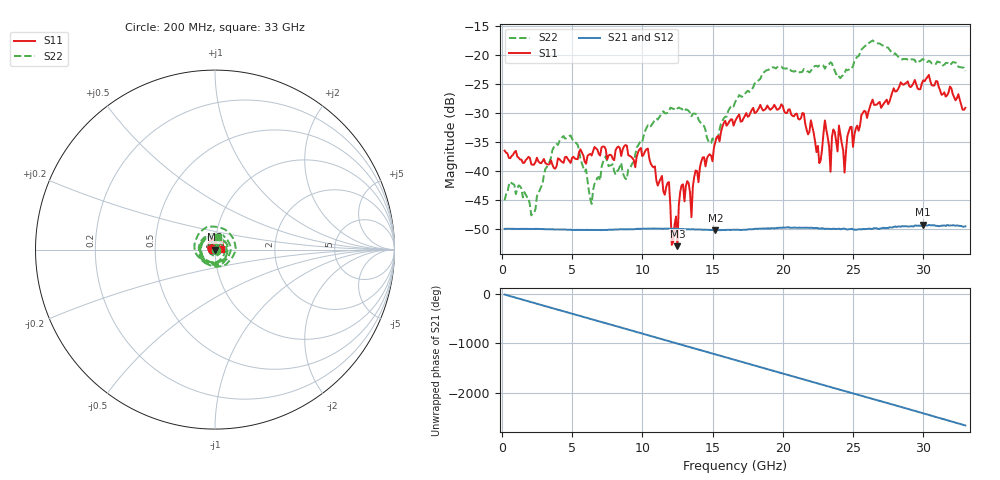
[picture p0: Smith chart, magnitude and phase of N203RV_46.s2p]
# GHZ S RI R 50
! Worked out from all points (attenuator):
!   329 points, 200 MHz to 33 GHz, reference 50 ohm
!   highest |S21| = -49.24 dB at 30 GHz (marker M1); lowest = -50.2 dB at 15.2 GHz (marker M2)
!   lowest |S11| = -52.9 dB at 12.5 GHz (marker M3), VSWR 1.00, Z = 49.8 - j0.0949 ohm
!   |S11| at or under -10 dB: start of sweep to end of sweep
!   |S22| runs from -47.6 to -17.5 dB; largest |S21 - S12| = 7.3e-05
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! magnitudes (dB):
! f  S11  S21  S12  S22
! 200 MHz  -36.5  -50.0  -49.9  -45.1
! 2.3 GHz  -38.9  -50.0  -50.0  -47.2
! 4.4 GHz  -38.6  -50.1  -50.0  -34.0
! 5.7 GHz  -36.8  -50.1  -50.1  -38.7
! 6.4 GHz  -37.3  -50.1  -50.1  -45.7
! 11.2 GHz  -41.9  -49.9  -49.9  -30.8
! 11.9 GHz  -41.9  -49.9  -49.9  -29.8
! 12.5 GHz  -52.9  -49.9  -49.9  -29.2
! 12.8 GHz  -42.5  -50.0  -49.9  -29.3
! 13.5 GHz  -47.9  -50.0  -50.0  -30.6
! 15.2 GHz  -35.0  -50.2  -50.1  -34.7
! 16.6 GHz  -31.5  -50.1  -50.1  -28.2
! 22.1 GHz  -32.3  -49.8  -49.7  -22.3
! 22.6 GHz  -38.6  -49.9  -49.8  -21.8
! 23 GHz  -31.3  -50.0  -49.9  -22.4
! 23.4 GHz  -40.1  -50.0  -50.0  -21.3
! 24 GHz  -32.2  -49.9  -49.9  -23.7
! 24.4 GHz  -40.3  -49.9  -49.9  -23.2
! 24.8 GHz  -32.4  -50.0  -50.0  -22.3
! 27.6 GHz  -28.0  -49.7  -49.7  -19.1
! 30 GHz  -24.4  -49.2  -49.3  -20.7
! 33 GHz  -29.1  -49.5  -49.5  -22.8
